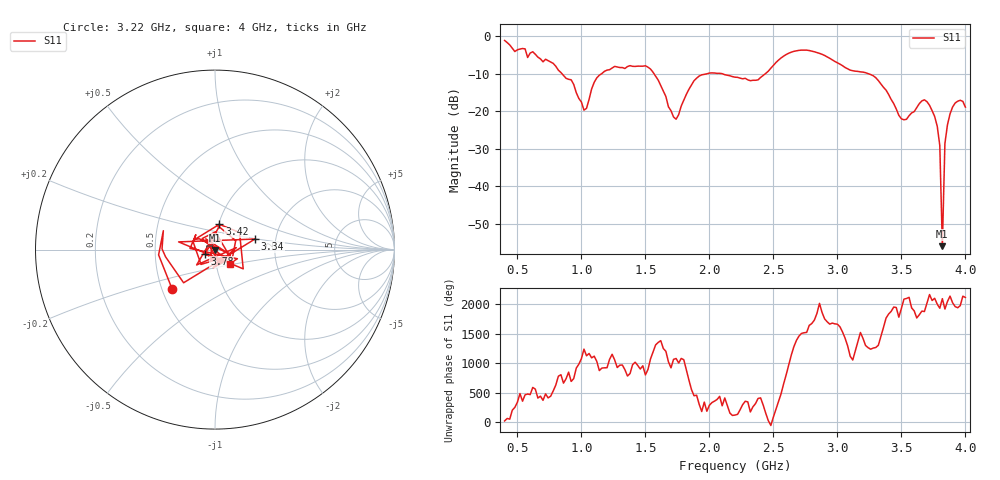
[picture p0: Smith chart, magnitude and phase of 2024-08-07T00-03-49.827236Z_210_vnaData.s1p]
!Created with skrf (http://scikit-rf.org).
# Hz S RI R 50.0
!freq ReS11 ImS11
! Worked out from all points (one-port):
!   181 points, 400 MHz to 4 GHz, reference 50 ohm
!   lowest |S11| = -55.9 dB at 3.82 GHz (marker M1), VSWR 1.00, Z = 50.1 - j0.145 ohm
!   |S11| at or under -10 dB: 1.566 GHz to 1.988 GHz (421.6 MHz wide, 23.7 % of centre); 2.091 GHz to 2.439 GHz (348.3 MHz wide, 15.4 % of centre); 3.239 GHz to end of sweep (the widest 3 of 4)
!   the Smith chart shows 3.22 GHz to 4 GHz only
!   S11 on the Smith chart (normalised r, x): 3.22 GHz: 0.57, -0.28; 3.34 GHz: 1.56, +0.19; 3.42 GHz: 1.01, +0.29; 3.78 GHz: 0.89, -0.04; 4 GHz: 1.16, -0.18
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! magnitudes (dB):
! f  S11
! 400 MHz  -1.2
! 860 MHz  -10.5
! 920 MHz  -11.7
! 1.02 GHz  -19.7
! 1.12 GHz  -11.2
! 1.3 GHz  -8.4
! 1.54 GHz  -8.8
! 1.72 GHz  -21.6
! 1.76 GHz  -20.9
! 1.92 GHz  -10.7
! 2.2 GHz  -11.0
! 2.38 GHz  -11.7
! 2.66 GHz  -4.1
! 2.86 GHz  -4.6
! 3.1 GHz  -9.1
! 3.22 GHz  -9.8
! 3.34 GHz  -12.8
! 3.42 GHz  -16.9
! 3.5 GHz  -22.0
! 3.56 GHz  -21.2
! 3.68 GHz  -17.0
! 3.78 GHz  -24.0
! 3.8 GHz  -29.1
! 3.82 GHz  -55.9
! 3.84 GHz  -28.6
! 3.86 GHz  -23.6
! 3.92 GHz  -17.9
! 4 GHz  -18.9
